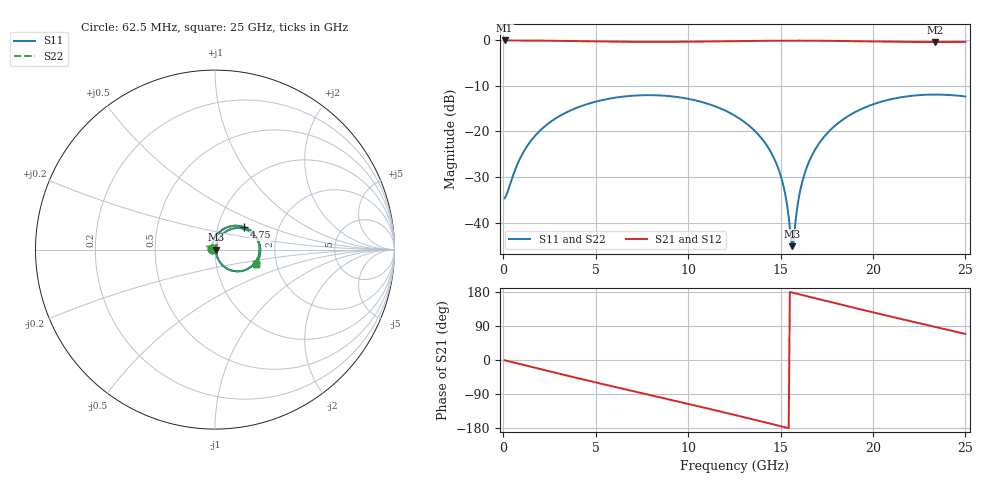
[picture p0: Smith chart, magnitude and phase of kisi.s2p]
! thru_BV_ts_refinout2_q050f25s_in: 2×thru F.Cu, 6 mm
! stackup: as the board case
! ports: 1 near, 2 far
! kisi-fdtd, conformal, dfine 0.05 mm, 499800 cells
# Hz S RI R 50
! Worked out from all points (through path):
!   400 points, 62.5 MHz to 25 GHz, reference 50 ohm
!   highest |S21| = -0.15 dB at 62.5 MHz (marker M1); lowest = -0.5 dB at 23.38 GHz (marker M2)
!   group delay of S21, straight-line fit = 32.4 ps
!   lowest |S11| = -45.0 dB at 15.62 GHz (marker M3), VSWR 1.01, Z = 50.6 - j0.0594 ohm
!   |S11| at or under -10 dB: start of sweep to end of sweep
!   |S22| runs from -45.0 to -12.0 dB; largest |S21 - S12| = 0
!   S11 on the Smith chart (normalised r, x): 62.5 MHz: 0.96, +0.01; 4.75 GHz: 1.33, +0.35; 25 GHz: 1.56, -0.27
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6.25e7  -0.0183 0.00357  0.9823 -0.0129  0.9823 -0.0129  -0.0183 0.00357
8.75e8  -0.009 0.0487  0.9651 -0.1791  0.9651 -0.1791  -0.009 0.0487
1.625e9  0.0125 0.0846  0.9233 -0.3273  0.9233 -0.3273  0.0125 0.0846
2.75e9  0.0608 0.1212  0.8176 -0.53  0.8176 -0.53  0.0608 0.1212
4.25e9  0.1374 0.1314  0.6118 -0.7451  0.6118 -0.7451  0.1374 0.1314
4.75e9  0.1621 0.125  0.5314 -0.8001  0.5314 -0.8001  0.1621 0.125
6.5625e9  0.231 0.068  0.212 -0.9259  0.212 -0.9259  0.231 0.068
8.375e9  0.2467 -0.0191  -0.1238 -0.9388  -0.1238 -0.9388  0.2467 -0.0191
1.04375e10  0.1916 -0.102  -0.4896 -0.8184  -0.4896 -0.8184  0.1916 -0.102
1.25625e10  0.0903 -0.1159  -0.7966 -0.5465  -0.7966 -0.5465  0.0903 -0.1159
1.3875e10  0.036 -0.0809  -0.9203 -0.3151  -0.9203 -0.3151  0.036 -0.0809
1.475e10  0.0134 -0.0437  -0.9651 -0.1431  -0.9651 -0.1431  0.0134 -0.0437
1.525e10  0.00698 -0.0194  -0.9757 -0.0414  -0.9757 -0.0414  0.00698 -0.0194
1.5625e10  0.00557 -0.000587  -0.9763 0.0355  -0.9763 0.0355  0.00557 -0.000587
1.56875e10  0.00562 0.00256  -0.9757 0.0483  -0.9757 0.0483  0.00562 0.00256
1.60625e10  0.00767 0.0214  -0.9688 0.125  -0.9688 0.125  0.00767 0.0214
1.66875e10  0.0175 0.0514  -0.9433 0.2505  -0.9433 0.2505  0.0175 0.0514
1.7375e10  0.037 0.0803  -0.8956 0.3826  -0.8956 0.3826  0.037 0.0803
1.83125e10  0.0752 0.1086  -0.8006 0.5469  -0.8006 0.5469  0.0752 0.1086
2.0875e10  0.1995 0.0978  -0.4123 0.859  -0.4123 0.859  0.1995 0.0978
2.3375e10  0.2521 -0.00934  0.0456 0.9427  0.0456 0.9427  0.2521 -0.00934
2.5e10  0.2263 -0.0814  0.3428 0.8837  0.3428 0.8837  0.2263 -0.0814
